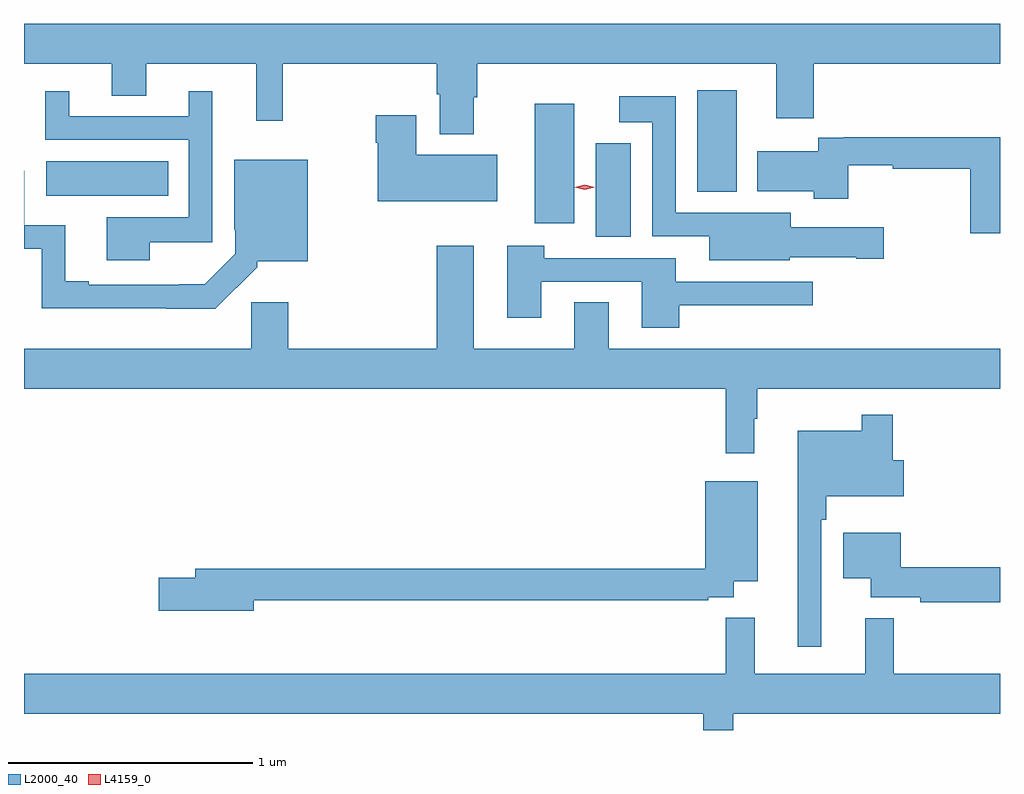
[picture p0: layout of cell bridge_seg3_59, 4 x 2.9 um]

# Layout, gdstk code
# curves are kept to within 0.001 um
import gdstk
lib = gdstk.Library(unit=1e-6, precision=1e-09)
def R(c, l, rs):  # rectangles x0, y0, x1, y1
    for r in rs: c.add(gdstk.rectangle(r[:2], r[2:], *l))
def P(c, l, *ps):  # polygons
    for p in ps: c.add(gdstk.Polygon(p, *l))
L2000_40 = (2000, 40)
L4159_0 = (4159, 0)

bridge_seg3_59 = lib.new_cell('bridge_seg3_59')
R(bridge_seg3_59, L2000_40, [(582.71,680.228,582.853,680.611), (582.461,680.283,582.622,680.773), (580.458,680.396,580.958,680.536), (583.127,680.411,583.288,680.827)])
P(bridge_seg3_59, L2000_40, [(582.211,680.798),(582.224,680.798),(582.224,680.936),(583.451,680.936),(583.451,680.712),(583.603,680.712),(583.603,680.936),(584.367,680.936),(584.367,681.1),(580.367,681.1),(580.367,680.936),(580.727,680.936),(580.727,680.806),(580.867,680.806),(580.867,680.936),(581.318,680.936),(581.318,680.703),(581.428,680.703),(581.428,680.936),(582.059,680.936),(582.059,680.812),(582.071,680.812),(582.071,680.648),(582.211,680.648)],
  [(580.882,680.204),(581.139,680.204),(581.139,680.824),(581.042,680.824),(581.042,680.721),(580.552,680.721),(580.552,680.824),(580.454,680.824),(580.454,680.625),(581.043,680.625),(581.043,680.308),(580.706,680.308),(580.706,680.132),(580.882,680.132)],
  [(583.506,680.144),(583.778,680.144),(583.778,680.137),(583.891,680.137),(583.891,680.266),(583.51,680.266),(583.51,680.326),(583.284,680.326),(583.284,680.325),(583.038,680.325),(583.038,680.803),(582.807,680.803),(582.807,680.696),(582.942,680.696),(582.942,680.229),(583.175,680.229),(583.175,680.132),(583.506,680.132)],
  [(582.307,680.563),(581.974,680.563),(581.974,680.725),(581.809,680.725),(581.809,680.612),(581.816,680.612),(581.816,680.372),(582.307,680.372)],
  [(584.367,680.635),(583.726,680.635),(583.726,680.633),(583.623,680.633),(583.623,680.578),(583.373,680.578),(583.373,680.414),(583.603,680.414),(583.603,680.384),(583.745,680.384),(583.745,680.521),(583.928,680.521),(583.928,680.506),(584.246,680.506),(584.246,680.241),(584.367,680.241)],
  [(581.322,680.103),(581.322,680.126),(581.53,680.126),(581.53,680.542),(581.228,680.542),(581.228,680.257),(581.232,680.257),(581.232,680.157),(581.107,680.032),(580.633,680.031),(580.633,680.044),(580.537,680.044),(580.537,680.274),(580.368,680.274),(580.367,680.497),(580.367,680.178),(580.439,680.178),(580.439,679.934),(580.951,679.934),(580.951,679.932),(581.15,679.932)],
  [(583.052,679.946),(583.6,679.946),(583.6,680.043),(583.039,680.043),(583.039,680.139),(582.5,680.139),(582.5,680.191),(582.347,680.191),(582.347,679.896),(582.487,679.896),(582.487,680.043),(582.899,680.043),(582.899,679.854),(583.052,679.854)],
  [(583.36,679.481),(583.372,679.481),(583.372,679.604),(584.367,679.604),(584.367,679.768),(582.763,679.768),(582.763,679.958),(582.623,679.958),(582.623,679.768),(582.211,679.768),(582.211,680.191),(582.059,680.191),(582.059,679.768),(581.45,679.768),(581.45,679.959),(581.299,679.959),(581.299,679.768),(580.367,679.768),(580.367,679.604),(583.243,679.604),(583.243,679.341),(583.36,679.341)],
  [(583.635,679.067),(583.655,679.067),(583.655,679.163),(583.972,679.163),(583.972,679.311),(583.928,679.311),(583.928,679.498),(583.8,679.498),(583.8,679.432),(583.538,679.432),(583.538,678.546),(583.635,678.546)],
  [(581.308,678.738),(583.172,678.738),(583.172,678.75),(583.276,678.75),(583.276,678.815),(583.375,678.815),(583.375,679.225),(583.16,679.225),(583.16,678.866),(581.069,678.866),(581.069,678.83),(580.92,678.83),(580.92,678.695),(581.308,678.695)],
  [(584.367,678.872),(583.96,678.872),(583.96,679.015),(583.724,679.015),(583.724,678.827),(583.838,678.827),(583.838,678.749),(584.04,678.749),(584.04,678.73),(584.367,678.73)],
  [(583.273,678.272),(584.367,678.272),(584.367,678.436),(583.931,678.436),(583.931,678.664),(583.814,678.664),(583.814,678.436),(583.361,678.436),(583.361,678.665),(583.243,678.665),(583.243,678.436),(580.367,678.436),(580.367,678.272),(583.151,678.272),(583.151,678.205),(583.273,678.205)])
P(bridge_seg3_59, L4159_0, [(582.666,680.42),(582.625,680.43),(582.625,680.43),(582.625,680.43),(582.666,680.44),(582.707,680.43),(582.707,680.43),(582.707,680.43)])

lib.write_gds('bridge_seg3_59.gds')
